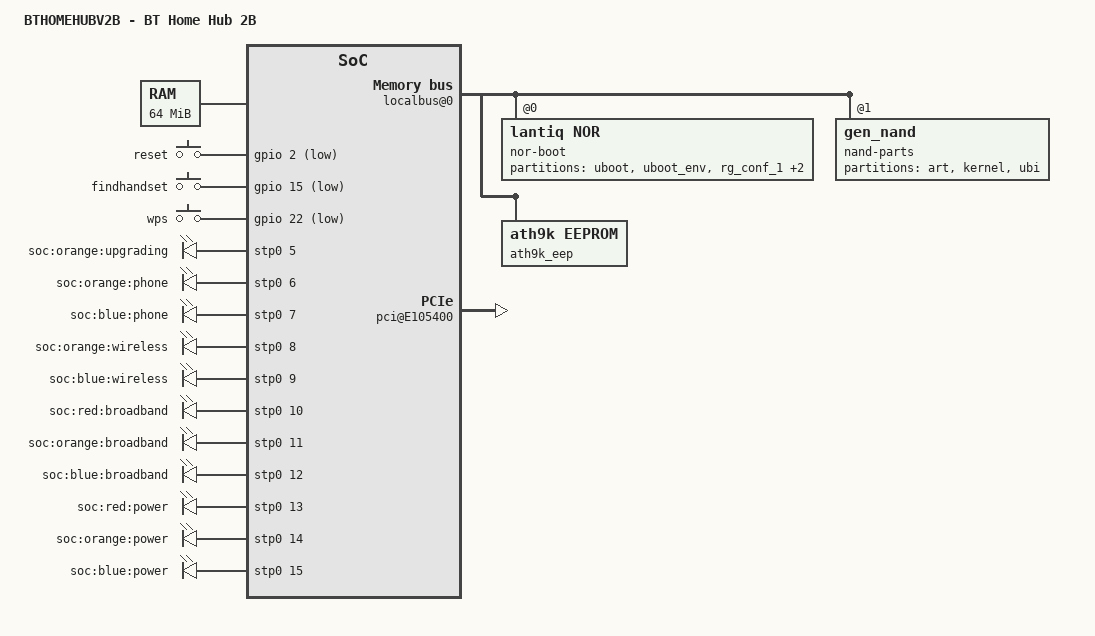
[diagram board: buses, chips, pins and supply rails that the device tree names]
/dts-v1/;

/include/ "danube.dtsi"

/ {
	model = "BTHOMEHUBV2B - BT Home Hub 2B";  /* SoC: Lantiq Danube-S PSB 50712 @ 333MHz V1.3/1.5 */

	chosen {
		bootargs = "console=ttyLTQ0,115200 init=/etc/preinit";
	};

	memory@0 {				  /* RAM: Samsung K4H511638F-LC 64MB */
		reg = <0x0 0x4000000>;
	};

	sram@1F000000 {
		vmmc@107000 {
			status = "okay";
			gpios = <&gpio 31 0>;
		};
	};

	fpi@10000000 {
		#address-cells = <1>;
		#size-cells = <1>;
		localbus@0 {
			#address-cells = <2>;
			#size-cells = <1>;
			ranges = <0 0 0x0 0x3ffffff /* addrsel0 */
				1 0 0x4000000 0x4000010>; /* addsel1 */
			compatible = "lantiq,localbus", "simple-bus";

			nor-boot@0 {				/* NOR Flash: Spansion S29AL004D 512KB */
				compatible = "lantiq,nor";	/* "AMD AM29LV400BB" compatible on 3.3.8 */
				lantiq,cs = <0>;
				bank-width = <2>;
				reg = <0 0x0 0x80000>;
				#address-cells = <1>;
				#size-cells = <1>;

				partition@0 {
					label = "uboot";
					reg = <0x00000 0x40000>; /* 256KB */
				};

				partition@40000 {
					label = "uboot_env";
					reg = <0x40000 0x10000>; /* 64KB */
				};

				partition@50000 {
					label = "rg_conf_1";
					reg = <0x50000 0x10000>;
				};

				partition@60000 {
					label = "rg_conf_2";
					reg = <0x60000 0x10000>;
				};

				partition@70000 {
					label = "rg_conf_factory";
					reg = <0x70000 0x10000>;
				};
			};

			nand-parts@0 {		  /* NAND Flash: Samsung K9F5608U0D-JIB0 32MB */
				compatible = "gen_nand", "lantiq,nand-xway";
				lantiq,cs = <1>;
				bank-width = <2>;
				reg = <1 0x0 0x2000000 >;
				#address-cells = <1>;
				#size-cells = <1>;
				req-mask = <0x1>;  /* PCI request lines to mask during NAND access */

				ath9k_cal: partition@0 {
					label = "art";	   /* Atheros 9160 wifi b/g/n radio EEPROM */
					reg = <0x00000 0x4000>;
					read-only;
				};

				partition@4000 {
					label = "kernel";
					reg = <0x4000 0x160000>;
				};

				partition@164000 {
					label = "ubi";
					reg = <0x164000 0x1E9C000>;
				};

			};


			ath9k_eep {
				compatible = "ath9k,eeprom";
				ath,eep-flash = <&ath9k_cal 0x0000>;
				ath,mac-increment = <1>;
				ath,pci-slot = <14>;
				ath,eep-endian;
			};
		};

		gpio: pinmux@E100B10 {
			compatible = "lantiq,pinctrl-xway";
			pinctrl-names = "default";
			pinctrl-0 = <&state_default>;

			#gpio-cells = <2>;
			gpio-controller;
			reg = <0xE100B10 0xA0>;

			state_default: pinmux {
				stp {
					lantiq,groups = "stp";
					lantiq,function = "stp";
					lantiq,output = <1>;
					lantiq,open-drain = <0>;
					lantiq,pull = <0>;
				};
				nand_out {
					lantiq,groups = "nand cle", "nand ale";
					lantiq,function = "ebu";
					lantiq,output = <1>;
					lantiq,open-drain = <0>;
					lantiq,pull = <0>;
				};
				nand_cs1 {
					lantiq,groups = "nand cs1";
					lantiq,function = "ebu";
					lantiq,open-drain = <0>;
					lantiq,pull = <0>;
				};
				exin {
					lantiq,groups = "exin1";
					lantiq,function = "exin";
				};
				pci_in {
					lantiq,groups = "req1";
					lantiq,function = "pci";
					lantiq,output = <0>;
					lantiq,open-drain = <1>;
					lantiq,pull = <2>;
				};
				pci_out {
					lantiq,groups = "gnt1";
					lantiq,function = "pci";
					lantiq,output = <1>;
					lantiq,open-drain = <0>;
					lantiq,pull = <0>;
				};

				pci_rst {
					lantiq,pins = "io21";
					lantiq,output = <1>;
					lantiq,open-drain = <0>;
				};

				btn_in {
					lantiq,pins = "io2", "io15", "io22";
					lantiq,output = <0>;
					lantiq,open-drain = <1>;
					lantiq,pull = <2>;
				};
			};
		};

		etop@E180000 {
			compatible = "lantiq,etop-xway";
			reg = <0xE180000 0x40000>;
			interrupt-parent = <&icu0>;
			interrupts = <73 78>;
			phy-mode = "rmii";
			mac-address = [ 00 11 22 33 44 55 ];
		};

		ifxhcd@E101000 {
			status = "okay";
		};

		stp0: stp@E100BB0 {
			status = "okay";
			#gpio-cells = <2>;
			compatible = "lantiq,gpio-stp-xway";
			gpio-controller;
			reg = <0xE100BB0 0x40>;

			lantiq,shadow = <0xfff>;
			lantiq,groups = <0x3>;
		};

		pci@E105400 {
			status = "okay";
			lantiq,bus-clock = <33333333>;
			interrupt-map-mask = <0xf800 0x0 0x0 0x7>;
			interrupt-map = <0x7000 0 0 1 &icu0 30 1>;
			gpio-reset = <&gpio 21 0>;
			req-mask = <0x1>;		 /* GNT1 */
		};

	};

	gpio-keys-polled {
		compatible = "gpio-keys-polled";
		#address-cells = <1>;
		#size-cells = <0>;
		poll-interval = <100>;

		reset {
			label = "reset";
			gpios = <&gpio 2 1>;
			linux,code = <0x198>;
		};
		findhandset {
			label = "findhandset";
			gpios = <&gpio 15 1>;
			linux,code = <0x101>;
		};
		wps {
			label = "wps";
			gpios = <&gpio 22 1>;
			linux,code = <0x211>;
		};
	};

	gpio-leds {
		compatible = "gpio-leds";

		upgrading-orange {
			label = "soc:orange:upgrading";
			gpios = <&stp0 5 0>;
		};

		phone-orange {
			label = "soc:orange:phone";
			gpios = <&stp0 6 0>;
		};
		phone-blue {
			label = "soc:blue:phone";
			gpios = <&stp0 7 0>;
		};

		wireless-orange {
			label = "soc:orange:wireless";
			gpios = <&stp0 8 0>;
		};
		wireless-blue {
			label = "soc:blue:wireless";
			gpios = <&stp0 9 0>;
		};

		broadband-red {
			label = "soc:red:broadband";
			gpios = <&stp0 10 0>;
		};
		broadband-orange {
			label = "soc:orange:broadband";
			gpios = <&stp0 11 0>;
		};
		broadband-blue {
			label = "soc:blue:broadband";
			gpios = <&stp0 12 0>;
		};

		power-red {
			label = "soc:red:power";
			gpios = <&stp0 13 0>;
		};
		power-orange {
			label = "soc:orange:power";
			gpios = <&stp0 14 0>;
		};
		power-blue {
			label = "soc:blue:power";
			gpios = <&stp0 15 0>;
		};
	};

};

